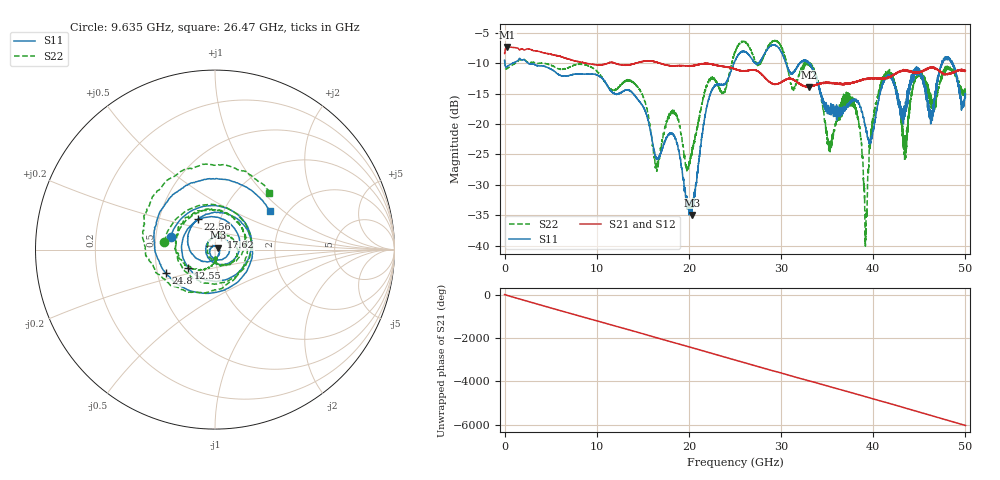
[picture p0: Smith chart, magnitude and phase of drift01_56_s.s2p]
!Created with skrf (http://scikit-rf.org).
# Hz S RI R 50.0
!freq ReS11 ImS11 ReS21 ImS21 ReS12 ImS12 ReS22 ImS22
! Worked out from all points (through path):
!   10001 points, 300 kHz to 50 GHz, reference 50 ohm
!   highest |S21| = -7.33 dB at 310.3 MHz (marker M1); lowest = -14.0 dB at 33.02 GHz (marker M2)
!   group delay of S21, straight-line fit = 335 ps
!   lowest |S11| = -35.0 dB at 20.32 GHz (marker M3), VSWR 1.04, Z = 51.5 + j1.03 ohm
!   |S11| at or under -10 dB: 2.554 GHz to 24.9 GHz (22.35 GHz wide, 163 % of centre); 30.53 GHz to 32.03 GHz (1.502 GHz wide, 4.8 % of centre); 33.06 GHz to 47.44 GHz (14.38 GHz wide, 35.7 % of centre) (the widest 3 of 26)
!   |S22| runs from -40.1 to -6.3 dB; largest |S21 - S12| = 0.0089
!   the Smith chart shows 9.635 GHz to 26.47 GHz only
!   S11 on the Smith chart (normalised r, x): 9.635 GHz: 0.60, +0.09; 12.55 GHz: 0.73, -0.15; 17.62 GHz: 1.06, +0.15; 22.56 GHz: 0.78, +0.27; 24.8 GHz: 0.56, -0.16; 26.47 GHz: 1.63, +0.80
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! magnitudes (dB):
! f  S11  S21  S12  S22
! 300 kHz  -9.5  -8.4  -8.5  -9.5
! 310.3 MHz  -10.5  -7.3  -7.3  -10.9
! 8.335 GHz  -11.8  -9.8  -9.8  -10.2
! 9.635 GHz  -11.8  -10.2  -10.2  -10.9
! 12.55 GHz  -14.9  -10.3  -10.3  -13.7
! 16.67 GHz  -25.7  -9.9  -10.0  -27.0
! 17.62 GHz  -22.1  -10.3  -10.3  -19.7
! 20.32 GHz  -35.0  -10.5  -10.4  -25.1
! 22.56 GHz  -14.2  -10.2  -10.2  -12.4
! 24.8 GHz  -10.4  -10.8  -10.9  -9.1
! 25 GHz  -9.6  -11.0  -11.0  -8.2
! 26.47 GHz  -8.6  -11.2  -11.2  -7.2
! 33.02 GHz  -9.9  -14.0  -13.9  -10.2
! 33.34 GHz  -10.7  -13.8  -13.7  -10.7
! 35.26 GHz  -18.2  -13.2  -13.3  -23.2
! 37.97 GHz  -15.9  -13.1  -13.1  -17.3
! 39.17 GHz  -20.5  -12.6  -12.6  -39.1
! 40.14 GHz  -19.7  -12.5  -12.5  -17.8
! 41.67 GHz  -11.9  -12.3  -12.4  -12.2
! 43.45 GHz  -17.7  -11.2  -11.2  -23.0
! 44.86 GHz  -11.1  -11.6  -11.5  -11.8
! 50 GHz  -15.6  -11.3  -11.3  -15.0
